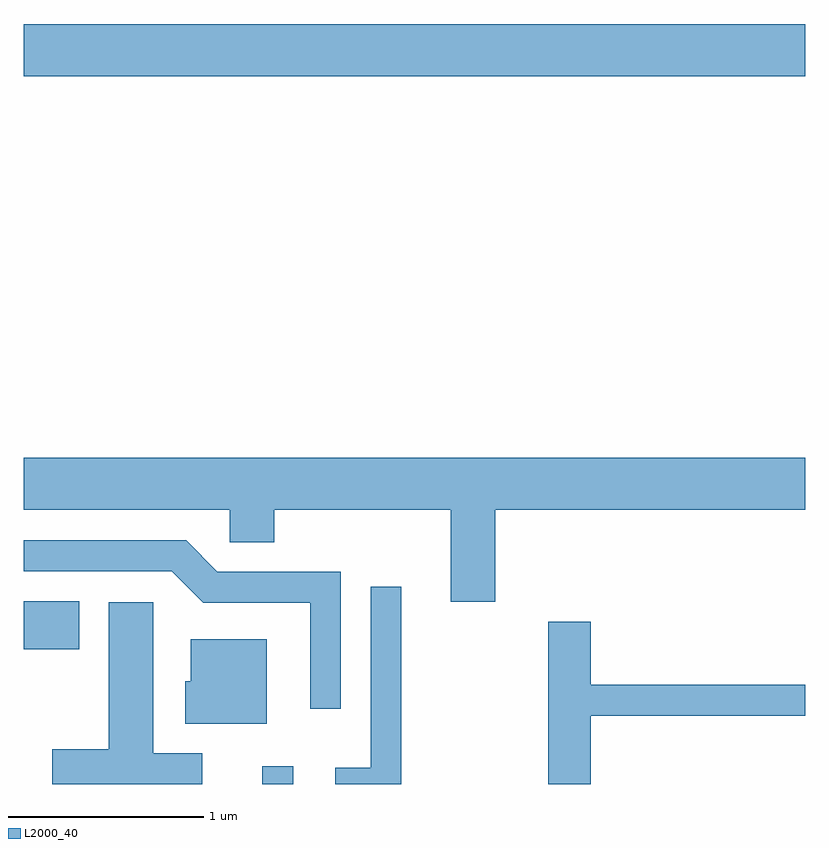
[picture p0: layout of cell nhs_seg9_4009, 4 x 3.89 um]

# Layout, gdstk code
import gdstk
lib = gdstk.Library(unit=1e-6, precision=1e-09)
def R(c, l, rs):  # rectangles x0, y0, x1, y1
    for r in rs: c.add(gdstk.rectangle(r[:2], r[2:], *l))
def P(c, l, *ps):  # polygons
    for p in ps: c.add(gdstk.Polygon(p, *l))
L2000_40 = (2000, 40)

nhs_seg9_4009 = lib.new_cell('nhs_seg9_4009')
R(nhs_seg9_4009, L2000_40, [(304.831,1970.432,304.989,1970.523), (303.611,1971.121,303.894,1971.369), (303.611,1974.056,307.611,1974.324)])
P(nhs_seg9_4009, L2000_40, [(303.611,1971.836),(304.666,1971.836),(304.666,1971.671),(304.894,1971.671),(304.894,1971.836),(305.796,1971.836),(305.796,1971.366),(306.024,1971.366),(306.024,1971.836),(307.611,1971.836),(307.611,1972.104),(303.611,1972.104)],
  [(305.234,1971.519),(304.602,1971.519),(304.442,1971.679),(303.611,1971.679),(303.611,1971.521),(304.369,1971.521),(304.529,1971.361),(305.076,1971.361),(305.076,1970.818),(305.234,1970.818)],
  [(305.544,1971.443),(305.386,1971.443),(305.386,1970.514),(305.206,1970.514),(305.206,1970.432),(305.544,1970.432)],
  [(304.524,1970.589),(304.274,1970.589),(304.274,1971.364),(304.046,1971.364),(304.046,1970.609),(303.756,1970.609),(303.756,1970.432),(304.524,1970.432)],
  [(306.514,1970.781),(307.611,1970.781),(307.611,1970.939),(306.514,1970.939),(306.514,1971.264),(306.296,1971.264),(306.296,1970.432),(306.514,1970.432)],
  [(304.854,1971.174),(304.466,1971.174),(304.466,1970.959),(304.436,1970.959),(304.436,1970.741),(304.854,1970.741)])

lib.write_gds('nhs_seg9_4009.gds')
